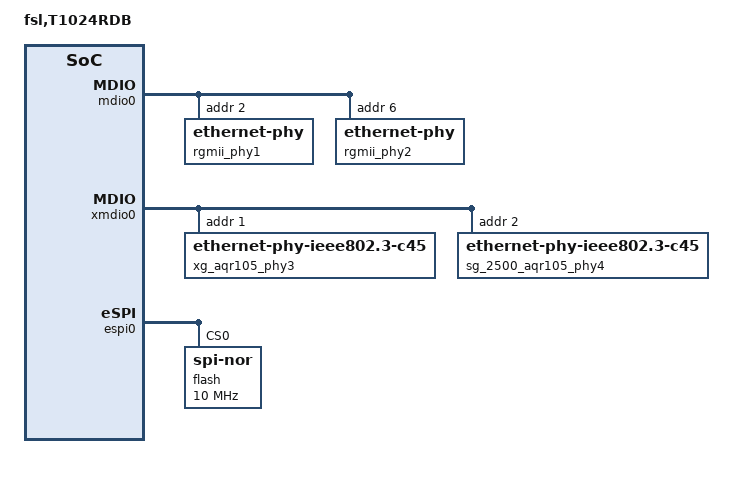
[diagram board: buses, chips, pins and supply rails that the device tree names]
// SPDX-License-Identifier: GPL-2.0+ OR X11
/*
 * T1024RDB Device Tree Source
 *
 * Copyright 2013 - 2015 Freescale Semiconductor Inc.
 * Copyright 2019-2023 NXP
 */

/include/ "t102x.dtsi"

/ {
	model = "fsl,T1024RDB";
	compatible = "fsl,T1024RDB";
	#address-cells = <2>;
	#size-cells = <2>;
	interrupt-parent = <&mpic>;

	aliases {
		sg_2500_aqr105_phy4 = &sg_2500_aqr105_phy4;
		serial0 = &serial0;
		serial1 = &serial1;
		serial2 = &serial2;
		serial3 = &serial3;
		spi0 = &espi0;
	};

	soc: soc@ffe000000 {
		ranges = <0x00000000 0xf 0xfe000000 0x1000000>;
		reg = <0xf 0xfe000000 0 0x00001000>;

		fman@400000 {
			fm1mac1: ethernet@e0000 {
				phy-handle = <&xg_aqr105_phy3>;
				phy-connection-type = "xgmii";
			};

			fm1mac2: ethernet@e2000 {
			};

			fm1mac3: ethernet@e4000 {
				phy-handle = <&rgmii_phy2>;
				phy-connection-type = "rgmii";
			};

			fm1mac4: ethernet@e6000 {
				phy-handle = <&rgmii_phy1>;
				phy-connection-type = "rgmii";
			};

			mdio0: mdio@fc000 {
				rgmii_phy1: ethernet-phy@2 {
					reg = <0x2>;
				};
				rgmii_phy2: ethernet-phy@6 {
					reg = <0x6>;
				};
			};

			xmdio0: mdio@fd000 {
				xg_aqr105_phy3: ethernet-phy@1 {
					compatible = "ethernet-phy-ieee802.3-c45";
					reg = <0x1>;
				};
				sg_2500_aqr105_phy4: ethernet-phy@2 {
					compatible = "ethernet-phy-ieee802.3-c45";
					reg = <0x2>;
				};
			};
		};
	};
};

&espi0 {
	status = "okay";
	flash@0 {
		compatible = "jedec,spi-nor";
		#address-cells = <1>;
		#size-cells = <1>;
		reg = <0>;
		/* input clock */
		spi-max-frequency = <10000000>;
	};
};

#include "t1024si-post.dtsi"
